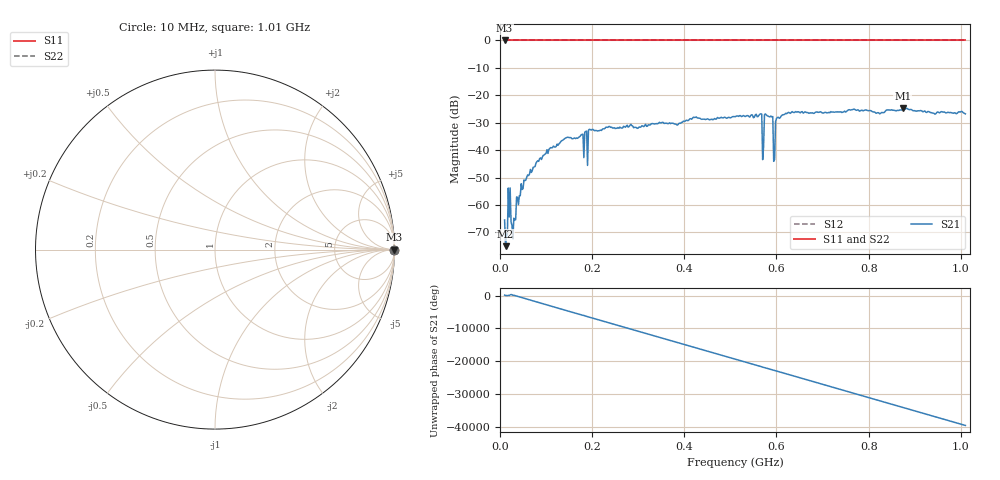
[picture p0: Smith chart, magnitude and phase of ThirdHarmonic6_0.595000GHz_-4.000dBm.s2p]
! 8/15/2025 7:21:02 PM
! C:\ANRITSUVNA\TEMP\TEMP.S2P
! CHANNEL.1
! TR.MEASUREMENT
! RAW.DATA
! RF.CORRECTION.OFF
! AVERAGING.OFF
! IF.BANDWIDTH: 5KHZ
! SWEEPTYPE:  FREQ.SWEEP(Linear)
! Reference Plane Port Info
! PORT:  PORT1  PORT2
! DISTANCE:  0  m  0  m
! TIME:  0  s  0  s
! PHASE.OFFSET:  0  deg.  0  deg.
! LOSS:  0  dB  0  dB
! REF.LOSS:  0  dB  0  dB
! REF.FREQ:  0  Hz  0  Hz
! Power Info
! POWER:  -20  dBm  -20  dBm
! EFF.POWER:  -20  dBm  -20  dBm
! SOURCE.ATTEN:  0  dB  0  dB
! TEST.ATTEN:  0  dB  0  dB
# GHZ S RI R 50.0
! FREQ.GHZ  S11RE  S11IM  S21RE  S21IM  S12RE  S12IM  S22RE  S22IM
!; PortSelection: Port_12
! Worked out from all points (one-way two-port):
!   501 points, 10 MHz to 1.01 GHz, reference 50 ohm
!   highest |S21| = -24.70 dB at 874 MHz (marker M1); lowest = -75.0 dB at 12 MHz (marker M2)
!   lowest |S11| = 0.0 dB at 10 MHz (marker M3)
!   |S11| at or under -10 dB: nowhere
!   |S22| runs from 0.0 to 0.0 dB; largest |S21 - S12| = 1.1
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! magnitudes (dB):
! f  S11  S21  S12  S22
! 10 MHz  0.0  -65.4  0.0  0.0
! 12 MHz  0.0  -75.0  0.0  0.0
! 20 MHz  0.0  -64.4  0.0  0.0
! 30 MHz  0.0  -64.8  0.0  0.0
! 50 MHz  0.0  -54.0  0.0  0.0
! 82 MHz  0.0  -43.8  0.0  0.0
! 142 MHz  0.0  -35.6  0.0  0.0
! 178 MHz  0.0  -34.3  0.0  0.0
! 344 MHz  0.0  -30.2  0.0  0.0
! 510 MHz  0.0  -27.8  0.0  0.0
! 564 MHz  0.0  -26.9  0.0  0.0
! 574 MHz  0.0  -27.0  0.0  0.0
! 578 MHz  0.0  -27.1  0.0  0.0
! 588 MHz  0.0  -27.6  0.0  0.0
! 592 MHz  0.0  -27.7  0.0  0.0
! 598 MHz  0.0  -29.6  0.0  0.0
! 602 MHz  0.0  -28.1  0.0  0.0
! 616 MHz  0.0  -27.1  0.0  0.0
! 678 MHz  0.0  -26.4  0.0  0.0
! 844 MHz  0.0  -25.3  0.0  0.0
! 874 MHz  0.0  -24.7  0.0  0.0
! 1.01 GHz  0.0  -26.8  0.0  0.0
